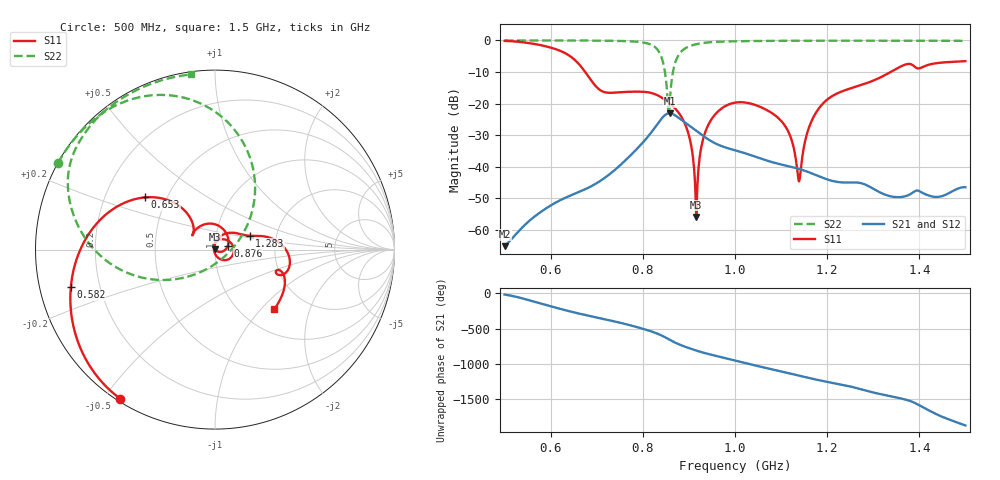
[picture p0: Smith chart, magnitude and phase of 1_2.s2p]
! TOUCHSTONE file generated by CST MICROWAVE STUDIO
! Date and time: Wed Oct 28 19:33:27 2020
! Project name: Scenario_1_Circular_Tissue_out_of_Line_v2.cst
! Parameters = {dy1=-346; L_HA=400; MT=2.54; Rad_Dielectric=30; Rad_Lower=7.3; Rad_Upper=30; a_HA=580; a_WG=246; b_HA=500; b_WG=121; c_HA=0; c_WG=187; d_feed=85; dx1=346; h_feed=15; h_lower=18; h_upper=40}
! Header version: 2018
! Port assignment regex: !\s*Touchstone port\s*([0-9]+)\s*=\s*(CST MWS port|CST DS port)\s*([0-9]+|Zmin|Zmax)\s*\(\"(.*)\"\)(\s*mode\s*([0-9]+))?.*
! Touchstone port assignment:
! Touchstone port 1 = CST MWS port 1 ("")
! Touchstone port 2 = CST MWS port 2 ("")
# GHz S DB R 50
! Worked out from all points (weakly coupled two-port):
!   1003 points, 500 MHz to 1.5 GHz, reference 50 ohm
!   highest |S21| = -23.05 dB at 858 MHz (marker M1); lowest = -65.1 dB at 500 MHz (marker M2)
!   lowest |S11| = -55.9 dB at 916 MHz (marker M3), VSWR 1.00, Z = 50.1 + j0.099 ohm
!   |S11| at or under -10 dB: 674.9 MHz to 1.338 GHz (662.6 MHz wide, 65.9 % of centre)
!   |S22| runs from -23.7 to 0.0 dB; largest |S21 - S12| = 6.8e-05
!   S11 on the Smith chart (normalised r, x): 500 MHz: 0.01, -0.55; 582 MHz: 0.09, -0.13; 653 MHz: 0.38, +0.29; 876 MHz: 1.15, +0.05; 1.283 GHz: 1.45, +0.23; 1.5 GHz: 1.39, -1.19
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0.5  -0.14 -122.4  -65.14 -18.4  -65.14 -18.4  -0.01 151.1
0.582  -1.62 -165.4  -53.96 -151.6  -53.96 -151.6  -0.02 145.5
0.653  -6.27 143.2  -48.51 85.8  -48.51 85.7  -0.03 139.7
0.667  -8.49 133.3  -47.65 64.4  -47.65 64.4  -0.04 138.3
0.712  -16.12 139.3  -44.05 0.3  -44.05 0.3  -0.08 133.3
0.78  -16.23 134.4  -35.41 -105.4  -35.41 -105.4  -0.34 120.2
0.834  -17.52 79.8  -26.02 142.7  -26.02 142.7  -3.36 81.0
0.847  -18.67 61.8  -23.77 102.0  -23.77 102.0  -9.15 51.2
0.858  -19.88 45.7  -23.05 62.5  -23.05 62.5  -20.84 -98.9
0.876  -22.56 17.0  -24.33 4.7  -24.33 4.7  -5.02 -170.0
0.901  -30.65 -26.5  -26.95 -57.4  -26.95 -57.4  -1.84 166.5
0.916  -55.88 37.9  -28.57 -89.9  -28.57 -89.9  -1.19 159.3
0.928  -32.94 98.4  -29.90 -113.5  -29.90 -113.5  -0.87 154.9
0.941  -27.05 79.9  -31.23 -136.5  -31.23 -136.5  -0.64 151.1
1  -19.70 6.2  -34.78 130.0  -34.78 130.0  -0.27 140.1
1.1  -25.45 -65.8  -39.28 -24.8  -39.28 -24.8  -0.12 129.7
1.121  -30.74 -83.5  -39.99 -56.5  -39.99 -56.5  -0.11 127.9
1.139  -44.65 -176.0  -40.69 -84.4  -40.69 -84.4  -0.10 126.4
1.167  -25.27 79.6  -42.12 -127.1  -42.12 -127.1  -0.10 124.1
1.283  -13.66 21.8  -45.66 65.6  -45.66 65.6  -0.08 115.3
1.334  -10.29 12.9  -49.23 -9.9  -49.22 -9.9  -0.09 111.4
1.5  -6.57 -45.3  -46.48 -68.4  -46.57 -68.9  -0.13 97.8
